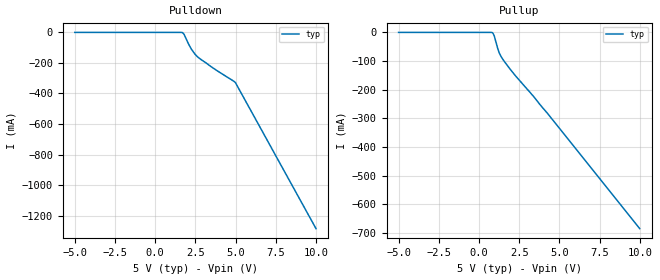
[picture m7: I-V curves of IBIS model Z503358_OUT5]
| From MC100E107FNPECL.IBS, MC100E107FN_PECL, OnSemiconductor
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| (C) COPYRIGHT 1993-2000
| MENTOR GRAPHICS CORPORATION
| ICX STANDARD LIBRARY, ICX PROJECT MODELING,
| ICX CUSTOM MODELING, ICX VENDOR MODEL
| ALL RIGHTS RESERVED.
| THE FOLLOWING ARE TRADEMARKS OR SERVICE MARKS OF
| MENTOR GRAPHICS CORPORATION:ICX (R), ICX STANDARD
| LIBRARY(R), ICX PROJECT MODELING(R), ICX CUSTOM
| MODELING(R), qualityIBIS(TM), MODELVIEWER(TM),
| AND MODELEDITOR(TM)
| ALL COPIES OF SOFTWARE, INCLUDING BUT NOT LIMITED TO
| ANY MODIFICATIONS, ENHANCEMENTS OR DERIVATIVE WORKS,
| MUST CONTAIN ALL MENTOR GRAPHICS CORPORATION'S
| NOTICES AND LEGENDS, INCLUDING THOSE EMBEDDED IN
| SOFTWARE AND THOSE AFFIXED TO SOFTWARE MEDIUM
| AND CONTAINER, AS RECEIVED FROM MENTOR GRAPHICS
| CORPORATION.
| Model Application Version 1.89 2/18/99.
[Model] Z503358_OUT5
Model_type Output_ECL
Vref=3.000V
Rref=50.00ohms
Cref=0.000F
Vmeas=3.677V
C_comp 8.000pF NA NA
| variable typ   min   max
[Voltage Range] 5.000V NA NA
[POWER Clamp Reference] 5.000V NA NA
[Pullup Reference] 5.000V NA NA
[Pulldown Reference] 5.000V NA NA
[GND Clamp Reference] 0.000V NA NA
[GND Clamp]
-5V       0A         NA         NA
10V       0A         NA         NA
[Pulldown]
-5V       0A         NA         NA
1.715V    -2.7mA     NA         NA
1.796V    -13.3mA    NA         NA
2.242V    -108.7mA   NA         NA
2.587V    -155.4mA   NA         NA
3.46V     -223.2mA   NA         NA
4.981V    -327.5mA   NA         NA
10V       -1.285A    NA         NA
[Pullup]
-5V       0A         NA         NA
746mV     0A         NA         NA
867mV     -2.3mA     NA         NA
949mV     -12.2mA    NA         NA
1.172V    -57.4mA    NA         NA
1.273V    -73.3mA    NA         NA
1.557V    -99.9mA    NA         NA
2.308V    -153.9mA   NA         NA
3.424V    -225.2mA   NA         NA
4.256V    -282.1mA   NA         NA
10V       -684.7mA   NA         NA
[POWER Clamp]
-5V       0A         NA         NA
10V       0A         NA         NA
[Ramp]
| variable typ min max
dV/dt_r 495.6m/322.5p NA NA
dV/dt_f 495.6m/250.9p NA NA
R_load = 500.0Ohms
